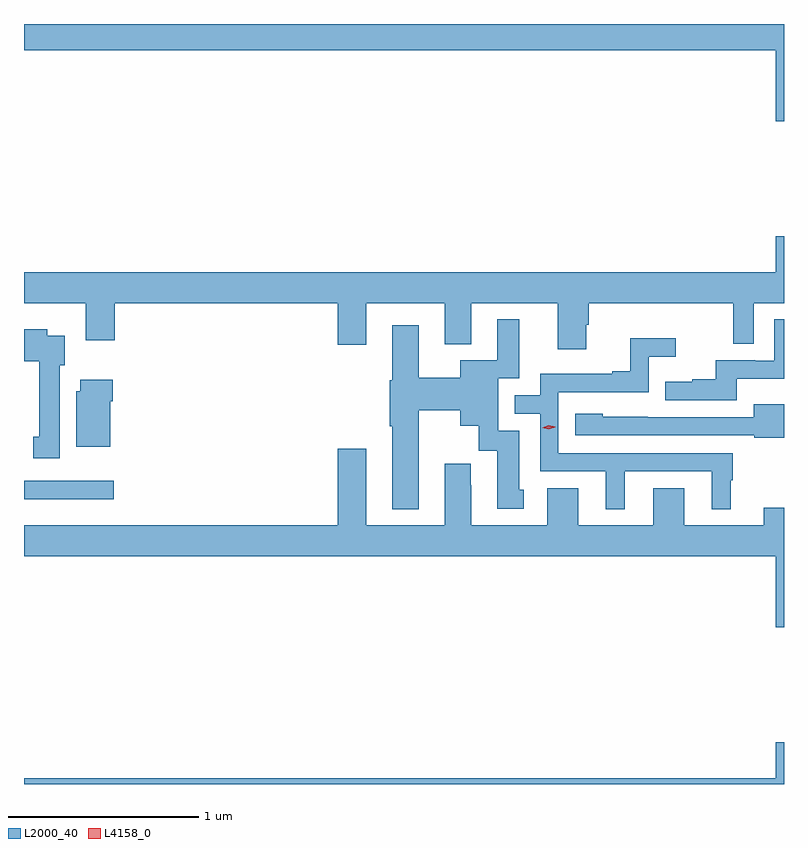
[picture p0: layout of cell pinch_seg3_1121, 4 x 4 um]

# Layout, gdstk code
import gdstk
lib = gdstk.Library(unit=1e-6, precision=1e-09)
def R(c, l, rs):  # rectangles x0, y0, x1, y1
    for r in rs: c.add(gdstk.rectangle(r[:2], r[2:], *l))
def P(c, l, *ps):  # polygons
    for p in ps: c.add(gdstk.Polygon(p, *l))
L2000_40 = (2000, 40)
L4158_0 = (4158, 0)

pinch_seg3_1121 = lib.new_cell('pinch_seg3_1121')
R(pinch_seg3_1121, L2000_40, [(149.063,727.856,149.536,727.953)])
P(pinch_seg3_1121, L2000_40, [(153.063,730.358),(149.063,730.358),(149.063,730.22),(153.02,730.22),(153.02,729.846),(153.063,729.846)],
  [(152.023,728.775),(152.036,728.775),(152.036,728.888),(152.796,728.888),(152.796,728.674),(152.904,728.674),(152.904,728.888),(153.063,728.888),(153.063,729.241),(153.02,729.241),(153.02,729.052),(149.063,729.052),(149.063,728.888),(149.387,728.888),(149.387,728.694),(149.54,728.694),(149.54,728.888),(150.713,728.888),(150.713,728.67),(150.865,728.67),(150.865,728.888),(151.277,728.888),(151.277,728.672),(151.417,728.672),(151.417,728.888),(151.871,728.888),(151.871,728.646),(152.023,728.646)],
  [(152.815,728.492),(153.063,728.492),(153.063,728.803),(153.012,728.803),(153.012,728.586),(152.912,728.586),(152.912,728.589),(152.705,728.589),(152.705,728.488),(152.581,728.488),(152.581,728.476),(152.437,728.476),(152.437,728.379),(152.815,728.379)],
  [(151.141,728.324),(151.358,728.324),(151.358,728.243),(151.457,728.243),(151.457,728.112),(151.553,728.112),(151.553,727.806),(151.693,727.806),(151.693,727.908),(151.669,727.908),(151.669,728.217),(151.56,728.217),(151.56,728.493),(151.669,728.493),(151.669,728.803),(151.553,728.803),(151.553,728.587),(151.358,728.587),(151.358,728.496),(151.141,728.496),(151.141,728.773),(151.001,728.773),(151.001,728.484),(150.989,728.484),(150.989,728.24),(151.001,728.24),(151.001,727.805),(151.141,727.805)],
  [(149.251,728.562),(149.278,728.562),(149.278,728.716),(149.185,728.716),(149.185,728.752),(149.063,728.752),(149.063,728.582),(149.144,728.582),(149.144,728.186),(149.111,728.186),(149.111,728.073),(149.251,728.073)],
  [(152.224,728.004),(152.684,728.004),(152.684,727.805),(152.782,727.805),(152.782,727.956),(152.794,727.956),(152.794,728.1),(151.875,728.1),(151.875,728.421),(152.352,728.421),(152.352,728.606),(152.494,728.606),(152.494,728.705),(152.254,728.705),(152.254,728.53),(152.159,728.53),(152.159,728.517),(151.779,728.517),(151.779,728.403),(151.646,728.403),(151.646,728.307),(151.779,728.307),(151.779,728.004),(152.126,728.004),(152.126,727.805),(152.224,727.805)],
  [(149.518,728.372),(149.531,728.372),(149.531,728.485),(149.36,728.485),(149.36,728.424),(149.339,728.424),(149.339,728.132),(149.518,728.132)],
  [(153.063,728.356),(152.903,728.356),(152.903,728.289),(152.345,728.289),(152.345,728.29),(152.109,728.29),(152.109,728.308),(151.965,728.308),(151.965,728.193),(152.907,728.193),(152.907,728.181),(153.063,728.181)],
  [(153.063,727.811),(152.957,727.811),(152.957,727.72),(152.539,727.72),(152.539,727.915),(152.375,727.915),(152.375,727.72),(151.981,727.72),(151.981,727.915),(151.817,727.915),(151.817,727.72),(151.417,727.72),(151.417,727.931),(151.414,727.931),(151.414,728.044),(151.277,728.044),(151.277,727.72),(150.865,727.72),(150.865,728.122),(150.713,728.122),(150.713,727.72),(149.063,727.72),(149.063,727.556),(153.02,727.556),(153.02,727.182),(153.063,727.182)],
  [(153.063,726.577),(153.02,726.577),(153.02,726.388),(149.063,726.388),(149.063,726.358),(153.063,726.358)])
P(pinch_seg3_1121, L4158_0, [(151.826,728.225),(151.791,728.232),(151.79,728.233),(151.791,728.233),(151.824,728.245),(151.859,728.237),(151.86,728.237),(151.859,728.236)])

lib.write_gds('pinch_seg3_1121.gds')
